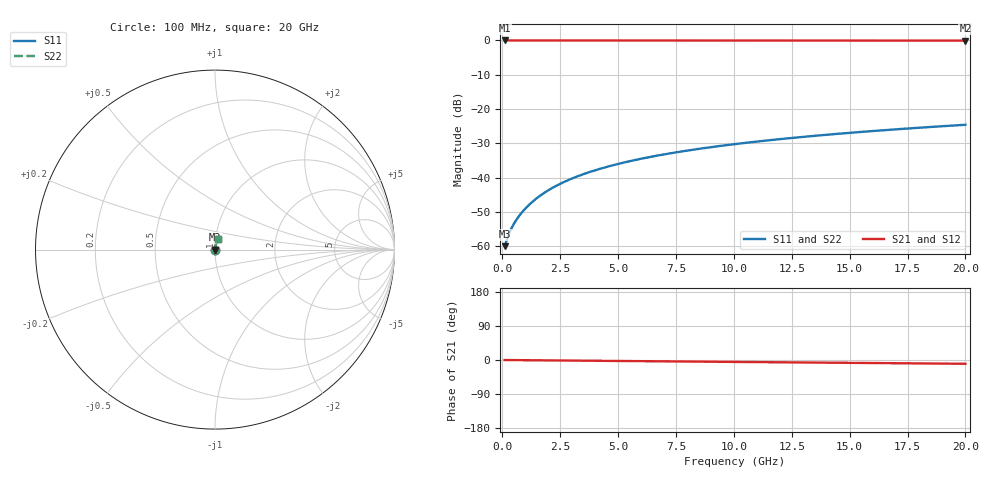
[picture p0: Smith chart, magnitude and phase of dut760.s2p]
! Touchstone file exported from HFSS 2026.1.0
!  File:  C:/ffzhzh/LocalFiles/Ansys_Project_Files/temp_train_TMRDL_760_1783155429_22436.aedt
!  Generated:  04:58:18 PM Jul  4, 2026
!  Design:  TMRDL
!  Project:  temp_train_TMRDL_760_1783155429_22436
! Variables:
!  h_bsmrdl = 2um
!  h_ox = 20um
!  h_rdl = 5um
!  h_sub = 80um
!  h_tmrdl = 3.27um
!  h_tsv = 80um
!  h_via = 3um
!  l_bsmrdl = 300um
!  l_sub = 545.12um
!  l_tmrdl = 145.12um
!  m_sub = 200um
!  pitch = 34.9um
!  r_tsv = 6um
!  s_tmrdl = 10um
!  w_bsmrdl = 18um
!  w_sub = 500um
!  w_tmrdl = 24.67um
!  x_tsv_center1 = 157.455um
!  x_tsv_center2 = 475.455um
!  x_tsv_center3 = 645.245um
!  x_tsv_center4 = 963.245um
!  x_tsv_center5 = 1133.035um
!  x_tsv_center6 = 1451.035um
# GHz S MA R 50.000000
! Terminal data exported
! Port[1] = TM_RDL1_1_T1
! Port[2] = TM_RDL1_1_T2
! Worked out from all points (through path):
!   200 points, 100 MHz to 20 GHz, reference 50 ohm
!   highest |S21| = -0.01 dB at 100 MHz (marker M1); lowest = -0.1 dB at 20 GHz (marker M2)
!   group delay of S21, straight-line fit = 1.38 ps
!   lowest |S11| = -60.0 dB at 100 MHz (marker M3), VSWR 1.00, Z = 50.1 + j0.0413 ohm
!   |S11| at or under -10 dB: start of sweep to end of sweep
!   |S22| runs from -60.0 to -24.6 dB; largest |S21 - S12| = 4.1e-15
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0.1  0.0009965 24.5  0.9991 -0.1  0.9991 -0.1  0.0009965 24.5
! Gamma 0 0 0 0
! Port Impedance 50 0 50 0
0.3  0.001541 47.8  0.999 -0.2  0.999 -0.2  0.001541 47.8
0.4  0.001828 53.2  0.9989 -0.2  0.9989 -0.2  0.001828 53.2
0.5  0.00211 57.2  0.9989 -0.3  0.9989 -0.3  0.00211 57.2
0.6  0.002391 60.4  0.9988 -0.3  0.9988 -0.3  0.002391 60.4
0.8  0.002958 65.3  0.9988 -0.4  0.9988 -0.4  0.002958 65.3
1  0.003538 68.8  0.9987 -0.5  0.9987 -0.5  0.003538 68.8
1.2  0.004129 71.4  0.9987 -0.6  0.9987 -0.6  0.004129 71.4
1.4  0.004728 73.4  0.9987 -0.7  0.9987 -0.7  0.004728 73.4
1.7  0.005639 75.5  0.9987 -0.9  0.9987 -0.9  0.005639 75.5
2.2  0.007174 77.7  0.9986 -1.1  0.9986 -1.1  0.007174 77.7
2.8  0.009026 79.2  0.9985 -1.4  0.9985 -1.4  0.009026 79.2
3.5  0.01119 80.2  0.9984 -1.8  0.9984 -1.8  0.01119 80.2
4.2  0.01334 80.6  0.9982 -2.1  0.9982 -2.1  0.01334 80.6
5  0.01578 80.8  0.9981 -2.6  0.9981 -2.6  0.01578 80.8
5.9  0.0185 80.8  0.9978 -3.0  0.9978 -3.0  0.0185 80.8
6.8  0.0212 80.7  0.9976 -3.5  0.9976 -3.5  0.0212 80.7
8.3  0.02564 80.3  0.9972 -4.2  0.9972 -4.2  0.02564 80.3
10.1  0.03089 79.7  0.9967 -5.1  0.9967 -5.1  0.03089 79.7
13.4  0.04034 78.5  0.9958 -6.7  0.9958 -6.7  0.04034 78.5
16.7  0.04964 77.2  0.995 -8.4  0.995 -8.4  0.04964 77.2
20  0.05882 75.9  0.9941 -10.0  0.9941 -10.0  0.05882 75.9
